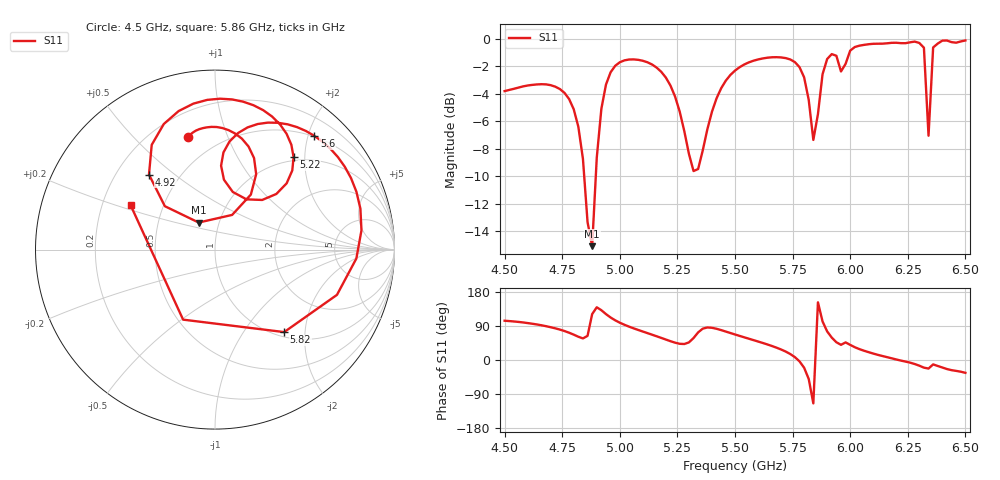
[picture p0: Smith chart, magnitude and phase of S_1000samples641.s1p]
! TOUCHSTONE file generated by CST MICROWAVE STUDIO
! Date and time: Fri Oct 28 21:20:06 2022
! Project name: L.cst
! Parameters = {Di=1.27; Epsilon_r=1.56; InnerDiameter=1.27; Length=2; Lf=10; Lg=60; OuterConductorThickness=0.2921; OuterDiameter=3.6; Wf=3; Wp=41.2; de=1.5; df=6.8; g=0.8; gx=0.517628; gy=4.29326; h=2.34; hf=1.524; px=13.2394; py=12.2329; w=9.7; wx=12.7218; wy=7.93967}
! Header version: 2018
! Port assignment regex: !\s*Touchstone port\s*([0-9]+)\s*=\s*(CST MWS port|CST DS port)\s*([0-9]+|Zmin|Zmax)\s*\(\"(.*)\"\)(\s*mode\s*([0-9]+))?.*
! Touchstone port assignment:
! Touchstone port 1 = CST MWS port 1 ("")
# GHz S DB R 50
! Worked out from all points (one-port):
!   101 points, 4.5 GHz to 6.5 GHz, reference 50 ohm
!   lowest |S11| = -15.1 dB at 4.88 GHz (marker M1), VSWR 1.43, Z = 39.9 + j12.4 ohm
!   |S11| at or under -10 dB: 4.846 GHz to 4.896 GHz (50.29 MHz wide, 1.03 % of centre)
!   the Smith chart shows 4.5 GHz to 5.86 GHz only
!   S11 on the Smith chart (normalised r, x): 4.5 GHz: 0.34, +0.73; 4.92 GHz: 0.34, +0.41; 5.22 GHz: 0.93, +1.77; 5.6 GHz: 0.49, +2.11; 5.82 GHz: 1.09, -1.56; 5.86 GHz: 0.32, +0.22
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4.5  -3.80 103.6
4.76  -3.93 76.4
4.84  -8.73 56.9
4.88  -15.09 121.1
4.92  -5.08 131.3
5  -1.70 98.4
5.1  -1.59 75.1
5.22  -3.40 49.6
5.26  -5.29 42.8
5.32  -9.62 57.9
5.38  -6.58 85.9
5.5  -2.31 67.4
5.6  -1.50 48.8
5.76  -1.69 7.5
5.8  -2.80 -20.4
5.82  -4.44 -50.0
5.84  -7.35 -114.5
5.86  -5.48 152.2
5.88  -2.57 101.7
5.9  -1.46 75.5
5.94  -1.23 46.9
5.96  -2.37 40.0
6  -0.85 39.9
6.26  -0.25 -7.0
6.32  -0.64 -20.2
6.34  -7.05 -22.6
6.36  -0.62 -11.6
6.5  -0.11 -33.8
